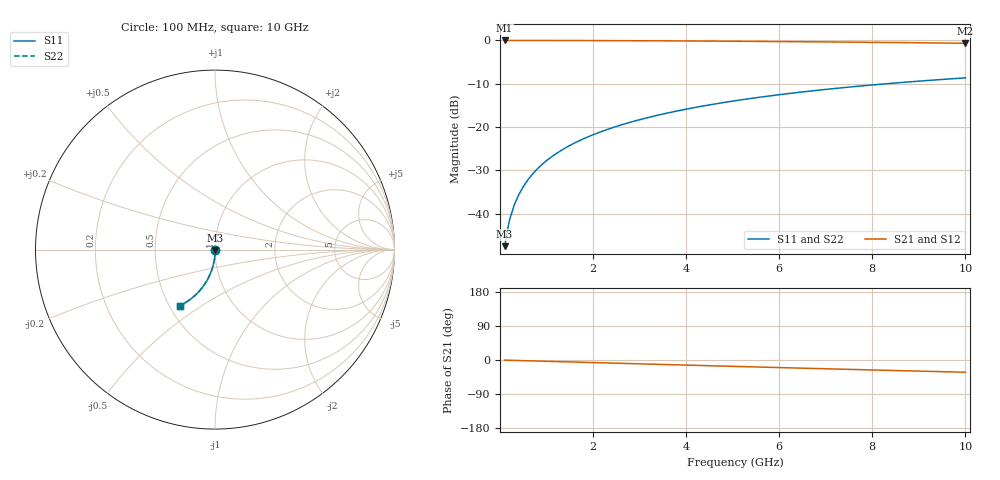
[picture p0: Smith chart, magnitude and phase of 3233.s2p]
# Hz S RI R 50.00
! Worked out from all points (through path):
!   100 points, 100 MHz to 10 GHz, reference 50 ohm
!   highest |S21| = -0.01 dB at 100 MHz (marker M1); lowest = -0.7 dB at 10 GHz (marker M2)
!   group delay of S21, straight-line fit = 9 ps
!   lowest |S11| = -47.5 dB at 100 MHz (marker M3), VSWR 1.01, Z = 50.1 - j0.411 ohm
!   |S11| at or under -10 dB: start of sweep to 8.301 GHz
!   |S22| runs from -47.5 to -8.6 dB; largest |S21 - S12| = 0
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1e8  0.00102 -0.0041  0.9989 -0.00591  0.9989 -0.00591  0.00102 -0.0041
2e8  0.000946 -0.0082  0.9988 -0.0118  0.9988 -0.0118  0.000946 -0.0082
3e8  0.000825 -0.0123  0.9987 -0.0177  0.9987 -0.0177  0.000825 -0.0123
4e8  0.000655 -0.0164  0.9985 -0.0236  0.9985 -0.0236  0.000655 -0.0164
5e8  0.000436 -0.0205  0.9983 -0.0295  0.9983 -0.0295  0.000436 -0.0205
6e8  0.000168 -0.0246  0.998 -0.0355  0.998 -0.0355  0.000168 -0.0246
7e8  -0.000149 -0.0287  0.9976 -0.0413  0.9976 -0.0413  -0.000149 -0.0287
8e8  -0.000514 -0.0328  0.9972 -0.0472  0.9972 -0.0472  -0.000514 -0.0328
9e8  -0.000927 -0.0368  0.9968 -0.0531  0.9968 -0.0531  -0.000927 -0.0368
1.1e9  -0.0019 -0.045  0.9957 -0.0649  0.9957 -0.0649  -0.0019 -0.045
1.4e9  -0.00371 -0.0571  0.9938 -0.0825  0.9938 -0.0825  -0.00371 -0.0571
1.8e9  -0.00679 -0.0732  0.9905 -0.1058  0.9905 -0.1058  -0.00679 -0.0732
2.1e9  -0.00959 -0.0851  0.9875 -0.1231  0.9875 -0.1231  -0.00959 -0.0851
2.5e9  -0.014 -0.1007  0.9828 -0.146  0.9828 -0.146  -0.014 -0.1007
2.9e9  -0.0191 -0.1161  0.9773 -0.1687  0.9773 -0.1687  -0.0191 -0.1161
3.4e9  -0.0264 -0.135  0.9695 -0.1966  0.9695 -0.1966  -0.0264 -0.135
4.2e9  -0.0402 -0.1639  0.9546 -0.24  0.9546 -0.24  -0.0402 -0.1639
5.1e9  -0.0587 -0.1944  0.9347 -0.2869  0.9347 -0.2869  -0.0587 -0.1944
5.9e9  -0.0774 -0.2195  0.9145 -0.3266  0.9145 -0.3266  -0.0774 -0.2195
6.7e9  -0.098 -0.2425  0.8921 -0.3642  0.8921 -0.3642  -0.098 -0.2425
8.4e9  -0.1468 -0.2838  0.839 -0.4367  0.839 -0.4367  -0.1468 -0.2838
1e10  -0.1968 -0.313  0.7838 -0.4954  0.7838 -0.4954  -0.1968 -0.313
